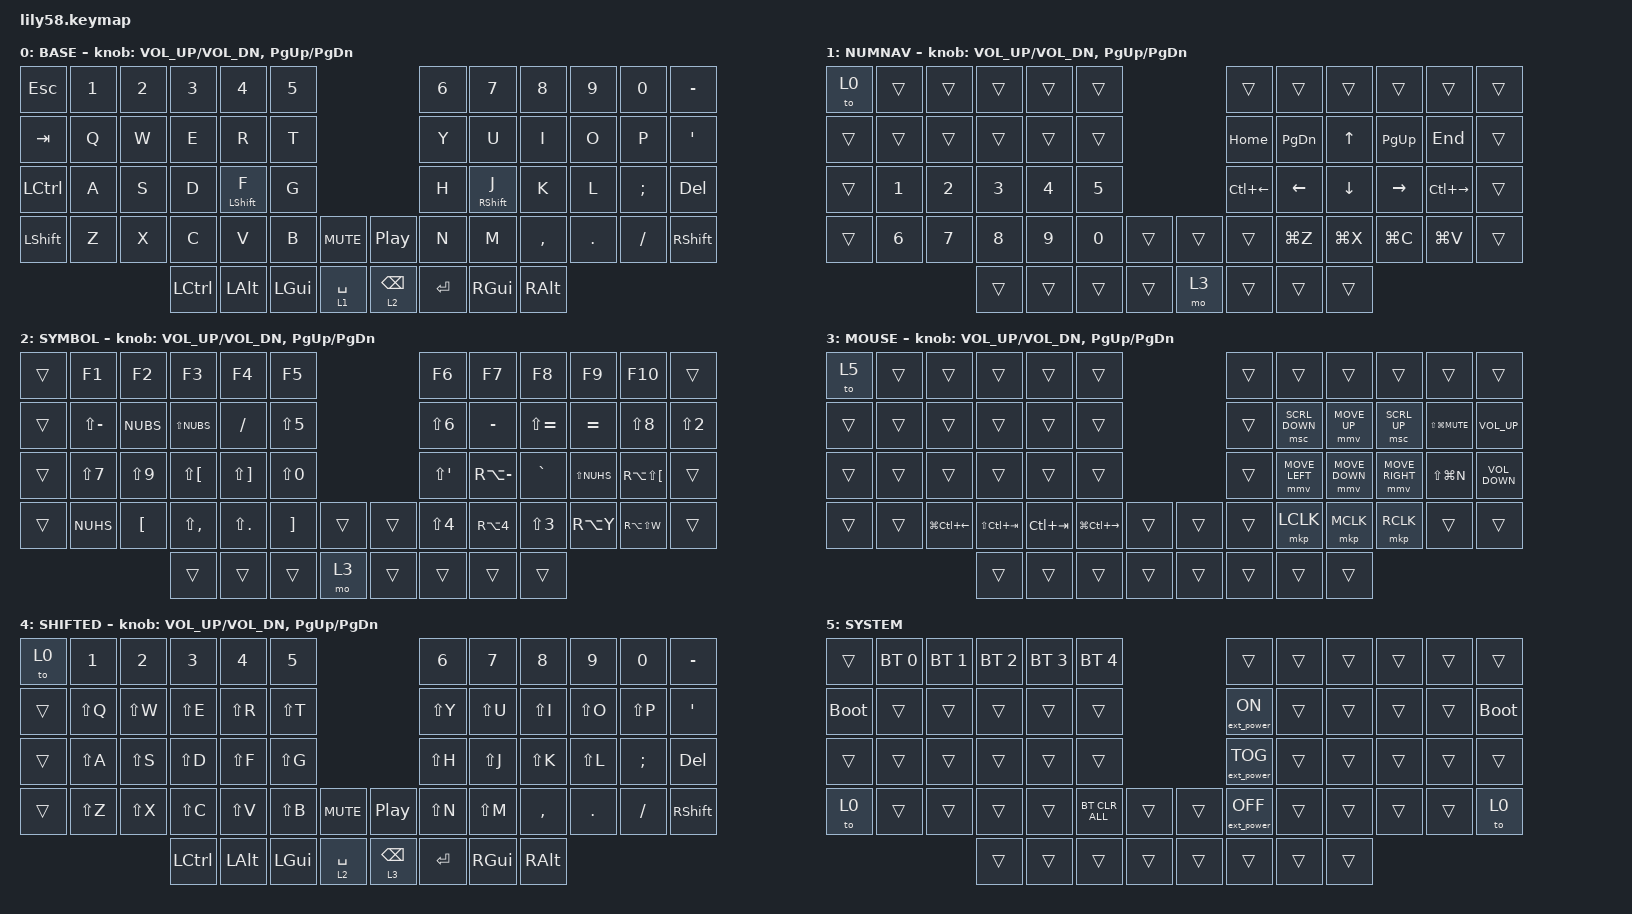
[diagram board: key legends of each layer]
/*
 * Copyright (c) 2020 The ZMK Contributors
 * SPDX-License-Identifier: MIT
 */

#define ZMK_POINTING_DEFAULT_MOVE_VAL 3100  // default: 600

#include <behaviors.dtsi>
#include <dt-bindings/zmk/bt.h>
#include <dt-bindings/zmk/ext_power.h>
#include <dt-bindings/zmk/keys.h>
#include <dt-bindings/zmk/pointing.h>

&lt {
    quick-tap-ms = <200>;
    tapping-term-ms = <150>;
    flavor = "balanced";
};

&mt {
    tapping-term-ms = <200>;
    flavor = "hold-preferred";
};

&mmv {
    time-to-max-speed-ms = <700>;
    acceleration-exponent = <1>;
};

/ {
    combos {
        compatible = "zmk,combos";

        exlamation {
            bindings = <&kp LS(NUMBER_1)>;
            key-positions = <14 15 16>;
        };

        questionmark {
            bindings = <&kp LS(FSLH)>;
            key-positions = <38 39 40>;
        };

        minus {
            bindings = <&kp MINUS>;
            key-positions = <>;
        };

        doublequote {
            bindings = <&kp LS(NUMBER_2)>;
            key-positions = <19 20 21>;
        };

        singlequote {
            bindings = <&kp SINGLE_QUOTE>;
            key-positions = <45 46 47>;
        };

        homerow {
            bindings = <&kp LC(EQUAL)>;
            key-positions = <10 11>;
        };

        num-lock {
            bindings = <&to 1>;
            key-positions = <1 11>;
        };

        caps-lock {
            bindings = <&to 4>;
            key-positions = <2 11>;
        };
    };

    behaviors {
        hml: hml {
            compatible = "zmk,behavior-hold-tap";
            label = "HML";
            bindings = <&kp>, <&kp>;

            #binding-cells = <2>;
            hold-trigger-key-positions = <43 30 18 6 7 8 9 10 11 19 20 21 22 23 31 32 33 34 35 45 46 47 48 49 56 57 44 55 54>;
            tapping-term-ms = <250>;
            hold-trigger-on-release;
            flavor = "hold-preferred";
            quick-tap-ms = <175>;
            require-prior-idle-ms = <150>;
        };

        hmr: hmr {
            compatible = "zmk,behavior-hold-tap";
            label = "HMR";
            bindings = <&kp>, <&kp>;

            #binding-cells = <2>;
            tapping-term-ms = <250>;
            hold-trigger-on-release;
            flavor = "hold-preferred";
            quick-tap-ms = <175>;
            require-prior-idle-ms = <150>;
            hold-trigger-key-positions = <0 1 2 3 4 5 12 13 14 15 16 17 24 25 26 27 28 29 36 37 38 39 40 41 42 50 51 52 53>;
        };
    };

    keymap {
        compatible = "zmk,keymap";

        BASE {
            bindings = <
&kp ESC    &kp N1  &kp N2  &kp N3            &kp N4             &kp N5                                         &kp N6     &kp N7              &kp N8     &kp N9   &kp N0    &kp MINUS
&kp TAB    &kp Q   &kp W   &kp E             &kp R              &kp T                                          &kp Y      &kp U               &kp I      &kp O    &kp P     &kp SINGLE_QUOTE
&kp LCTRL  &kp A   &kp S   &kp D             &hml LEFT_SHIFT F  &kp G                                          &kp H      &hmr RIGHT_SHIFT J  &kp K      &kp L    &kp SEMI  &kp DELETE
&kp LSHFT  &kp Z   &kp X   &kp C             &kp V              &kp B         &kp K_MUTE     &kp C_PLAY_PAUSE  &kp N      &kp M               &kp COMMA  &kp DOT  &kp FSLH  &kp RIGHT_SHIFT
                           &kp LEFT_CONTROL  &kp LEFT_ALT       &kp LEFT_GUI  &lt 1 SPACE    &lt 2 BACKSPACE   &kp ENTER  &kp RGUI            &kp RALT
            >;

            sensor-bindings = <&inc_dec_kp C_VOL_UP C_VOL_DN &inc_dec_kp PAGE_UP PAGE_DOWN>;
        };

        NUMNAV {
            bindings = <
&to 0   &trans  &trans  &trans  &trans  &trans                    &trans        &trans         &trans        &trans       &trans         &trans
&trans  &trans  &trans  &trans  &trans  &trans                    &kp HOME      &kp PAGE_DOWN  &kp UP_ARROW  &kp PAGE_UP  &kp END        &trans
&trans  &kp N1  &kp N2  &kp N3  &kp N4  &kp N5                    &kp LC(LEFT)  &kp LEFT       &kp DOWN      &kp RIGHT    &kp LC(RIGHT)  &trans
&trans  &kp N6  &kp N7  &kp N8  &kp N9  &kp N0  &trans    &trans  &trans        &kp LG(Z)      &kp LG(X)     &kp LG(C)    &kp LG(V)      &trans
                        &trans  &trans  &trans  &trans    &mo 3   &trans        &trans         &trans
            >;

            sensor-bindings = <&inc_dec_kp C_VOL_UP C_VOL_DN &inc_dec_kp PAGE_UP PAGE_DOWN>;
        };

        SYMBOL {
            bindings = <
&trans  &kp F1         &kp F2      &kp F3         &kp F4        &kp F5                        &kp F6       &kp F7         &kp F8         &kp F9        &kp F10           &trans
&trans  &kp LS(MINUS)  &kp NUBS    &kp LS(NUBS)   &kp FSLH      &kp LS(N5)                    &kp LS(N6)   &kp MINUS      &kp LS(EQUAL)  &kp EQUAL     &kp LS(N8)        &kp LS(N2)
&trans  &kp LS(N7)     &kp LS(N9)  &kp LS(LBKT)   &kp LS(RBKT)  &kp LS(N0)                    &kp LS(SQT)  &kp RA(MINUS)  &kp GRAVE      &kp LS(NUHS)  &kp RA(LS(LBKT))  &trans
&trans  &kp NUHS       &kp LBKT    &kp LS(COMMA)  &kp LS(DOT)   &kp RBKT    &trans    &trans  &kp LS(N4)   &kp RA(N4)     &kp LS(N3)     &kp RA(Y)     &kp RA(LS(W))     &trans
                                   &trans         &trans        &trans      &mo 3     &trans  &trans       &trans         &trans
            >;

            sensor-bindings = <&inc_dec_kp C_VOL_UP C_VOL_DN &inc_dec_kp PAGE_UP PAGE_DOWN>;
        };

        MOUSE {
            bindings = <
&to 5   &trans  &trans            &trans           &trans       &trans                               &trans  &trans          &trans          &trans           &trans              &trans
&trans  &trans  &trans            &trans           &trans       &trans                               &trans  &msc SCRL_DOWN  &mmv MOVE_UP    &msc SCRL_UP     &kp LS(LG(C_MUTE))  &kp C_VOLUME_UP
&trans  &trans  &trans            &trans           &trans       &trans                               &trans  &mmv MOVE_LEFT  &mmv MOVE_DOWN  &mmv MOVE_RIGHT  &kp LS(LG(N))       &kp C_VOLUME_DOWN
&trans  &trans  &kp LG(LC(LEFT))  &kp LS(LC(TAB))  &kp LC(TAB)  &kp LG(LC(RIGHT))  &trans    &trans  &trans  &mkp LCLK       &mkp MCLK       &mkp RCLK        &trans              &trans
                                  &trans           &trans       &trans             &trans    &trans  &trans  &trans          &trans
            >;

            sensor-bindings = <&inc_dec_kp C_VOL_UP C_VOL_DN &inc_dec_kp PAGE_UP PAGE_DOWN>;
        };

        SHIFTED {
            bindings = <
&to 0   &kp N1     &kp N2     &kp N3            &kp N4        &kp N5                                         &kp N6     &kp N7     &kp N8     &kp N9     &kp N0     &kp MINUS
&trans  &kp LS(Q)  &kp LS(W)  &kp LS(E)         &kp LS(R)     &kp LS(T)                                      &kp LS(Y)  &kp LS(U)  &kp LS(I)  &kp LS(O)  &kp LS(P)  &kp SINGLE_QUOTE
&trans  &kp LS(A)  &kp LS(S)  &kp LS(D)         &kp LS(F)     &kp LS(G)                                      &kp LS(H)  &kp LS(J)  &kp LS(K)  &kp LS(L)  &kp SEMI   &kp DELETE
&trans  &kp LS(Z)  &kp LS(X)  &kp LS(C)         &kp LS(V)     &kp LS(B)     &kp K_MUTE     &kp C_PLAY_PAUSE  &kp LS(N)  &kp LS(M)  &kp COMMA  &kp DOT    &kp FSLH   &kp RIGHT_SHIFT
                              &kp LEFT_CONTROL  &kp LEFT_ALT  &kp LEFT_GUI  &lt 2 SPACE    &lt 3 BACKSPACE   &kp ENTER  &kp RGUI   &kp RALT
            >;

            sensor-bindings = <&inc_dec_kp C_VOL_UP C_VOL_DN &inc_dec_kp PAGE_UP PAGE_DOWN>;
        };

        SYSTEM {
            bindings = <
&trans       &bt BT_SEL 0  &bt BT_SEL 1  &bt BT_SEL 2  &bt BT_SEL 3  &bt BT_SEL 4                      &trans             &trans  &trans  &trans  &trans  &trans
&bootloader  &trans        &trans        &trans        &trans        &trans                            &ext_power EP_ON   &trans  &trans  &trans  &trans  &bootloader
&trans       &trans        &trans        &trans        &trans        &trans                            &ext_power EP_TOG  &trans  &trans  &trans  &trans  &trans
&to 0        &trans        &trans        &trans        &trans        &bt BT_CLR_ALL  &trans    &trans  &ext_power EP_OFF  &trans  &trans  &trans  &trans  &to 0
                                         &trans        &trans        &trans          &trans    &trans  &trans             &trans  &trans
            >;
        };
    };
};
